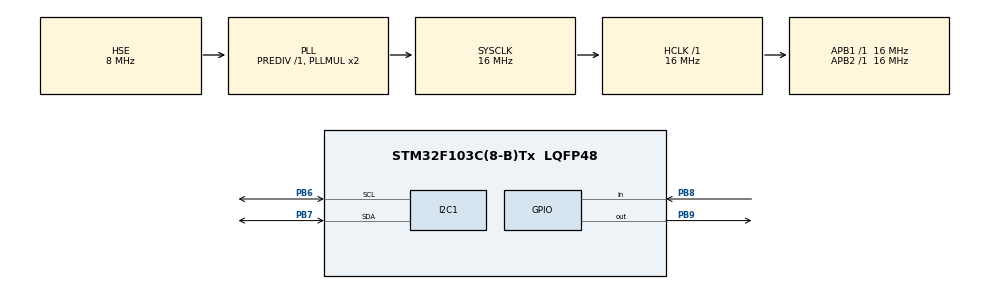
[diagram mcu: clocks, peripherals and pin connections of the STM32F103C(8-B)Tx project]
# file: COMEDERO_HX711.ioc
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Mcu.Family=STM32F1
Mcu.Name=STM32F103C(8-B)Tx
Mcu.Package=LQFP48
NVIC.PriorityGroup=NVIC_PRIORITYGROUP_4
PA13.Mode=Serial_Wire
PA13.Signal=SYS_JTMS-SWDIO
PA14.Mode=Serial_Wire
PA14.Signal=SYS_JTCK-SWCLK
PB6.Mode=I2C
PB6.Signal=I2C1_SCL
PB7.Mode=I2C
PB7.Signal=I2C1_SDA
PB8.Signal=GPIO_Input
PB9.Signal=GPIO_Output
PD0-OSC_IN.Mode=HSE-External-Oscillator
PD0-OSC_IN.Signal=RCC_OSC_IN
PD1-OSC_OUT.Mode=HSE-External-Oscillator
PD1-OSC_OUT.Signal=RCC_OSC_OUT
ProjectManager.HeapSize=0x200
ProjectManager.StackSize=0x400
ProjectManager.TargetToolchain=STM32CubeIDE
RCC.AHBFreq_Value=16000000
RCC.APB1Freq_Value=16000000
RCC.APB1TimFreq_Value=16000000
RCC.APB2Freq_Value=16000000
RCC.APB2TimFreq_Value=16000000
RCC.HCLKFreq_Value=16000000
RCC.PLLSourceVirtual=RCC_PLLSOURCE_HSE
RCC.SYSCLKFreq_VALUE=16000000
RCC.SYSCLKSource=RCC_SYSCLKSOURCE_PLLCLK
RCC.USBFreq_Value=16000000
TIM2.Prescaler=15
VP_TIM2_VS_ClockSourceINT.Mode=Internal
board=custom

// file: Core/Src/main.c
/* USER CODE BEGIN Header */
/**
  ******************************************************************************
  * @file           : main.c
  * @brief          : Main program body
  ******************************************************************************
  * @attention
  *
  * Copyright (c) 2025 STMicroelectronics.
  * All rights reserved.
  *
  * This software is licensed under terms that can be found in the LICENSE file
  * in the root directory of this software component.
  * If no LICENSE file comes with this software, it is provided AS-IS.
  *
  ******************************************************************************
  */
/* USER CODE END Header */
#include "main.h"

/* USER CODE BEGIN Includes */
#include "I2C_LCD.h"
/* USER CODE END Includes */

/* USER CODE BEGIN PD */
#define DT_PIN GPIO_PIN_8
#define DT_PORT GPIOB
#define SCK_PIN GPIO_PIN_9
#define SCK_PORT GPIOB

#define MyI2C_LCD I2C_LCD_1

#define FIXED_POINT_SCALE 1000
#define FP FIXED_POINT_SCALE
/* USER CODE END PD */

/* USER CODE BEGIN PM */
#define TO_FIXED(x)   ((int32_t)((x) * FIXED_SCALE))
#define FROM_FIXED(x) ((x) / FIXED_SCALE)
#define MUL_FIXED(a,b) ((int32_t)(((int64_t)(a) * (b)) / FIXED_SCALE))
#define DIV_FIXED(a,b) ((int32_t)(((int64_t)(a) * FIXED_SCALE) / (b)))

/* USER CODE END PM */

I2C_HandleTypeDef hi2c1;

TIM_HandleTypeDef htim2;

/* USER CODE BEGIN PV */
int32_t tare = 101362 ; // -151452+50500+300;
int32_t knownHX711 = 385; // 1 MILIGRAMO
int32_t weight;

/* USER CODE END PV */

void SystemClock_Config(void);
static void MX_GPIO_Init(void);
static void MX_TIM2_Init(void);
static void MX_I2C1_Init(void);
/* USER CODE BEGIN PFP */
void microDelay(uint16_t delay);
int32_t getAverageRaw(uint8_t samples);
int32_t getHX711(void);
int32_t weigh();
void calibrate_with_known_weight(int32_t knownWeight_mg);

/* USER CODE END PFP */

int main(void)
{

  /* MCU Configuration--------------------------------------------------------*/

  /* Reset of all peripherals, Initializes the Flash interface and the Systick. */
  HAL_Init();

  /* Configure the system clock */
  SystemClock_Config();

  /* Initialize all configured peripherals */
  MX_GPIO_Init();
  MX_TIM2_Init();
  MX_I2C1_Init();
  /* USER CODE BEGIN 2 */

  HAL_TIM_Base_Start(&htim2);
  HAL_GPIO_WritePin(SCK_PORT, SCK_PIN, GPIO_PIN_SET);
  HAL_Delay(10);
  HAL_GPIO_WritePin(SCK_PORT, SCK_PIN, GPIO_PIN_RESET);
  HAL_Delay(10);

  I2C_LCD_Init(MyI2C_LCD);
  I2C_LCD_SetCursor(MyI2C_LCD, 0, 0);
  I2C_LCD_WriteString(MyI2C_LCD, "Peso medido");

  /* USER CODE END 2 */

  /* Infinite loop */
  /* USER CODE BEGIN WHILE */
  while (1)
  {

	  weight = weigh();
	  I2C_LCD_SetCursor(MyI2C_LCD, 0, 1);
	  I2C_LCD_WriteString(MyI2C_LCD, "                ");
	  I2C_LCD_SetCursor(MyI2C_LCD, 0, 1);
	  I2C_LCD_WriteInt32(MyI2C_LCD, weight);
	  I2C_LCD_SetCursor(MyI2C_LCD, 14, 1);
	  I2C_LCD_WriteString(MyI2C_LCD, "mg");

	 // calibrate_with_known_weight(64000);

    /* USER CODE END WHILE */

  }
}

void SystemClock_Config(void)
{
  RCC_OscInitTypeDef RCC_OscInitStruct = {0};
  RCC_ClkInitTypeDef RCC_ClkInitStruct = {0};

  /** Initializes the RCC Oscillators according to the specified parameters
  * in the RCC_OscInitTypeDef structure.
  */
  RCC_OscInitStruct.OscillatorType = RCC_OSCILLATORTYPE_HSE;
  RCC_OscInitStruct.HSEState = RCC_HSE_ON;
  RCC_OscInitStruct.HSEPredivValue = RCC_HSE_PREDIV_DIV1;
  RCC_OscInitStruct.HSIState = RCC_HSI_ON;
  RCC_OscInitStruct.PLL.PLLState = RCC_PLL_ON;
  RCC_OscInitStruct.PLL.PLLSource = RCC_PLLSOURCE_HSE;
  RCC_OscInitStruct.PLL.PLLMUL = RCC_PLL_MUL2;
  if (HAL_RCC_OscConfig(&RCC_OscInitStruct) != HAL_OK)
  {
    Error_Handler();
  }

  /** Initializes the CPU, AHB and APB buses clocks
  */
  RCC_ClkInitStruct.ClockType = RCC_CLOCKTYPE_HCLK|RCC_CLOCKTYPE_SYSCLK
                              |RCC_CLOCKTYPE_PCLK1|RCC_CLOCKTYPE_PCLK2;
  RCC_ClkInitStruct.SYSCLKSource = RCC_SYSCLKSOURCE_PLLCLK;
  RCC_ClkInitStruct.AHBCLKDivider = RCC_SYSCLK_DIV1;
  RCC_ClkInitStruct.APB1CLKDivider = RCC_HCLK_DIV1;
  RCC_ClkInitStruct.APB2CLKDivider = RCC_HCLK_DIV1;

  if (HAL_RCC_ClockConfig(&RCC_ClkInitStruct, FLASH_LATENCY_0) != HAL_OK)
  {
    Error_Handler();
  }
}

static void MX_I2C1_Init(void)
{

  hi2c1.Instance = I2C1;
  hi2c1.Init.ClockSpeed = 100000;
  hi2c1.Init.DutyCycle = I2C_DUTYCYCLE_2;
  hi2c1.Init.OwnAddress1 = 0;
  hi2c1.Init.AddressingMode = I2C_ADDRESSINGMODE_7BIT;
  hi2c1.Init.DualAddressMode = I2C_DUALADDRESS_DISABLE;
  hi2c1.Init.OwnAddress2 = 0;
  hi2c1.Init.GeneralCallMode = I2C_GENERALCALL_DISABLE;
  hi2c1.Init.NoStretchMode = I2C_NOSTRETCH_DISABLE;
  if (HAL_I2C_Init(&hi2c1) != HAL_OK)
  {
    Error_Handler();
  }

}

static void MX_TIM2_Init(void)
{

  TIM_ClockConfigTypeDef sClockSourceConfig = {0};
  TIM_MasterConfigTypeDef sMasterConfig = {0};

  htim2.Instance = TIM2;
  htim2.Init.Prescaler = 15;
  htim2.Init.CounterMode = TIM_COUNTERMODE_UP;
  htim2.Init.Period = 65535;
  htim2.Init.ClockDivision = TIM_CLOCKDIVISION_DIV1;
  htim2.Init.AutoReloadPreload = TIM_AUTORELOAD_PRELOAD_DISABLE;
  if (HAL_TIM_Base_Init(&htim2) != HAL_OK)
  {
    Error_Handler();
  }
  sClockSourceConfig.ClockSource = TIM_CLOCKSOURCE_INTERNAL;
  if (HAL_TIM_ConfigClockSource(&htim2, &sClockSourceConfig) != HAL_OK)
  {
    Error_Handler();
  }
  sMasterConfig.MasterOutputTrigger = TIM_TRGO_RESET;
  sMasterConfig.MasterSlaveMode = TIM_MASTERSLAVEMODE_DISABLE;
  if (HAL_TIMEx_MasterConfigSynchronization(&htim2, &sMasterConfig) != HAL_OK)
  {
    Error_Handler();
  }

}

static void MX_GPIO_Init(void)
{
  GPIO_InitTypeDef GPIO_InitStruct = {0};

  /* GPIO Ports Clock Enable */
  __HAL_RCC_GPIOD_CLK_ENABLE();
  __HAL_RCC_GPIOA_CLK_ENABLE();
  __HAL_RCC_GPIOB_CLK_ENABLE();

  /*Configure GPIO pin Output Level */
  HAL_GPIO_WritePin(GPIOB, GPIO_PIN_9, GPIO_PIN_RESET);

  /*Configure GPIO pin : PB8 */
  GPIO_InitStruct.Pin = GPIO_PIN_8;
  GPIO_InitStruct.Mode = GPIO_MODE_INPUT;
  GPIO_InitStruct.Pull = GPIO_NOPULL;
  HAL_GPIO_Init(GPIOB, &GPIO_InitStruct);

  /*Configure GPIO pin : PB9 */
  GPIO_InitStruct.Pin = GPIO_PIN_9;
  GPIO_InitStruct.Mode = GPIO_MODE_OUTPUT_PP;
  GPIO_InitStruct.Pull = GPIO_NOPULL;
  GPIO_InitStruct.Speed = GPIO_SPEED_FREQ_LOW;
  HAL_GPIO_Init(GPIOB, &GPIO_InitStruct);

}

/* USER CODE BEGIN 4 */

void microDelay(uint16_t delay){
    uint16_t start = __HAL_TIM_GET_COUNTER(&htim2);
    while((uint16_t)(__HAL_TIM_GET_COUNTER(&htim2) - start) < delay);
};

int32_t getHX711(void){
    uint32_t data = 0;
    uint32_t startTime = HAL_GetTick();
    // wait for DT low
    while(HAL_GPIO_ReadPin(DT_PORT, DT_PIN) == GPIO_PIN_SET)
    {
        if(HAL_GetTick() - startTime > 200) return 0; // timeout
    }
    for(int8_t i = 0; i < 24; i++)
    {
        HAL_GPIO_WritePin(SCK_PORT, SCK_PIN, GPIO_PIN_SET);
        microDelay(1);
        data = (data << 1) | (HAL_GPIO_ReadPin(DT_PORT, DT_PIN) == GPIO_PIN_SET ? 1 : 0);
        HAL_GPIO_WritePin(SCK_PORT, SCK_PIN, GPIO_PIN_RESET);
        microDelay(1);
    }

    // sign-extend 24-bit two's complement to 32-bit signed
    if (data & 0x800000) {
        data |= 0xFF000000; // set upper bits to 1
    }

    // pulse once for gain (you already do one pulse in original code; ensure controller expects this)
    HAL_GPIO_WritePin(SCK_PORT, SCK_PIN, GPIO_PIN_SET);
    microDelay(1);
    HAL_GPIO_WritePin(SCK_PORT, SCK_PIN, GPIO_PIN_RESET);
    microDelay(1);

    return (int32_t)data;
};

int32_t getAverageRaw(uint8_t samples){
    int64_t total = 0;
    for(uint8_t i=0; i<samples; i++){
        int32_t r = getHX711();
        total += r;
    }
    return (int32_t)(total / samples);
};

void calibrate_with_known_weight(int32_t knownWeight_mg)
{
    // measure tare
    I2C_LCD_SetCursor(MyI2C_LCD,0,1);
    I2C_LCD_WriteString(MyI2C_LCD,"Remove load...");
    HAL_Delay(1000);
    tare = getAverageRaw(10);
    // show tare
    I2C_LCD_SetCursor(MyI2C_LCD,0,1);
    I2C_LCD_WriteString(MyI2C_LCD,"Tare done       ");
    HAL_Delay(500);

    // prompt to place known weight
    I2C_LCD_SetCursor(MyI2C_LCD,0,1);
    I2C_LCD_WriteString(MyI2C_LCD,"Place known wt ");
    HAL_Delay(3000); // give user time to put weight

    int32_t raw_known = getAverageRaw(10);
    int32_t diff = raw_known - tare;
    if (diff <= 0) diff = 1; // avoid div-by-zero or negative

    // compute counts-per-mg scaled by FP
    knownHX711 = (int32_t)(( (int64_t)diff * FP ) / (int64_t)knownWeight_mg);

    // display computed value for debugging
    I2C_LCD_SetCursor(MyI2C_LCD,0,1);
    I2C_LCD_WriteString(MyI2C_LCD,"Cal done        ");
    HAL_Delay(500);
};

int32_t weigh()
{
    int32_t raw = getAverageRaw(10);
    int32_t diff = raw - tare;
    // compute weight_mg = (diff * FP) / knownHX711
    int32_t weight_mg = (int32_t)(( (int64_t)diff * FP ) / (int64_t)knownHX711);
    return weight_mg;
};

/* USER CODE END 4 */

void Error_Handler(void)
{
  __disable_irq();
  while (1)
  {
  }
}
